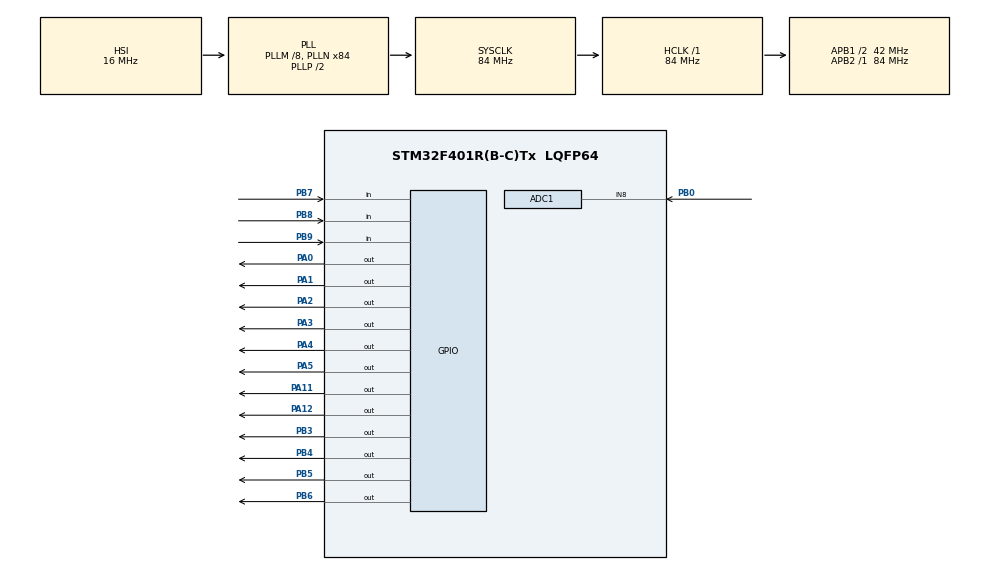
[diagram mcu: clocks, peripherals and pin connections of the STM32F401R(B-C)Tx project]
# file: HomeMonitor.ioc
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ADC1.Channel-15\#ChannelRegularConversion=ADC_CHANNEL_8
ADC1.ClockPrescaler=ADC_CLOCK_SYNC_PCLK_DIV8
ADC1.NbrOfConversionFlag=1
ADC1.Rank-15\#ChannelRegularConversion=1
ADC1.SamplingTime-15\#ChannelRegularConversion=ADC_SAMPLETIME_3CYCLES
ADC1.master=1
Mcu.Family=STM32F4
Mcu.Name=STM32F401R(B-C)Tx
Mcu.Package=LQFP64
NVIC.ADC_IRQn=true\:0\:0\:false\:false\:true\:true\:true\:true
NVIC.PriorityGroup=NVIC_PRIORITYGROUP_4
PA0-WKUP.Signal=GPIO_Output
PA1.Signal=GPIO_Output
PA11.Signal=GPIO_Output
PA12.Signal=GPIO_Output
PA2.Signal=GPIO_Output
PA3.Signal=GPIO_Output
PA4.Signal=GPIO_Output
PA5.Signal=GPIO_Output
PB0.Signal=ADCx_IN8
PB3.Signal=GPIO_Output
PB4.Signal=GPIO_Output
PB5.Signal=GPIO_Output
PB6.Signal=GPIO_Output
PB7.GPIO_PuPd=GPIO_PULLDOWN
PB7.Signal=GPIO_Input
PB8.GPIO_PuPd=GPIO_PULLDOWN
PB8.Signal=GPIO_Input
PB9.GPIO_PuPd=GPIO_PULLDOWN
PB9.Signal=GPIO_Input
ProjectManager.HeapSize=0x200
ProjectManager.StackSize=0x400
ProjectManager.TargetToolchain=STM32CubeIDE
RCC.48MHZClocksFreq_Value=42000000
RCC.AHBFreq_Value=84000000
RCC.APB1CLKDivider=RCC_HCLK_DIV2
RCC.APB1Freq_Value=42000000
RCC.APB1TimFreq_Value=84000000
RCC.APB2Freq_Value=84000000
RCC.APB2TimFreq_Value=84000000
RCC.CortexFreq_Value=84000000
RCC.HCLKFreq_Value=84000000
RCC.HSE_VALUE=25000000
RCC.HSI_VALUE=16000000
RCC.LSE_VALUE=32768
RCC.PLLM=8
RCC.PLLN=84
RCC.SYSCLKFreq_VALUE=84000000
RCC.SYSCLKSource=RCC_SYSCLKSOURCE_PLLCLK
RCC.VCOOutputFreq_Value=168000000
SH.ADCx_IN8.0=ADC1_IN8,IN8
TIM10.Prescaler=83
VP_TIM10_VS_ClockSourceINT.Mode=Enable_Timer
board=custom

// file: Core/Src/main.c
/* USER CODE BEGIN Header */
/*****************************************************************************************************************************
**********************************    Author  : Ehab Magdy Abdullah                      *************************************
**********************************    Linkedin: https://www.linkedin.com/in/ehabmagdyy/  *************************************
**********************************    Youtube : https://www.youtube.com/@EhabMagdyy      *************************************
******************************************************************************************************************************/
/* USER CODE END Header */
#include "main.h"

/* USER CODE BEGIN Includes */
#include "lcd.h"
#include "DHT22.h"
#include "keypad.h"
/* USER CODE END Includes */

ADC_HandleTypeDef hadc1;

TIM_HandleTypeDef htim10;

/* USER CODE BEGIN PV */
uint8_t my_password[4] = "2380";		/* System Password */
uint8_t entered_password[4];			/* Entered Password */
uint8_t counter = 0;					/* Count Number of Entered Characters (MAX = 4) */
uint8_t num_of_trys = 0;				/* Count number of wrong trys (MAX = 2) */
uint8_t keypad_value;					/* Store Entered Keypad letter */

uint32_t ADC_Value, Flame_Percentage;	/* Store ADC Value and map it into Flame Percentage */
float Temperature, Humidity;			/* Store Temperature & Humidity Readings */
/* USER CODE END PV */

void SystemClock_Config(void);
static void MX_GPIO_Init(void);
static void MX_ADC1_Init(void);
static void MX_TIM10_Init(void);
/* USER CODE BEGIN PFP */
void System_Login();
void Print_Data();
/* USER CODE END PFP */

/* USER CODE BEGIN 0 */
void HAL_ADC_ConvCpltCallback(ADC_HandleTypeDef *hadc)
{
  /* Prevent unused argument(s) compilation warning */
  UNUSED(hadc);

  ADC_Value = HAL_ADC_GetValue(&hadc1);							/* Get ADC Value */
  Flame_Percentage = 100 - (ADC_Value * 100.0/4095);			/* Map ADV value from 0 to 100 */
}
/* USER CODE END 0 */

int main(void)
{

  /* MCU Configuration--------------------------------------------------------*/

  /* Reset of all peripherals, Initializes the Flash interface and the Systick. */
  HAL_Init();

  /* Configure the system clock */
  SystemClock_Config();

  /* Initialize all configured peripherals */
  MX_GPIO_Init();
  MX_ADC1_Init();
  MX_TIM10_Init();
  /* USER CODE BEGIN 2 */
  HAL_TIM_Base_Start(&htim10);

  lCD_Init(&lcd);
  System_Login();
  /* USER CODE END 2 */

  /* Infinite loop */
  /* USER CODE BEGIN WHILE */
  while (1)
  {
	  DHT22_Get_Reading(&Temperature, &Humidity);
	  HAL_ADC_Start_IT(&hadc1);
	  Print_Data();
	  HAL_Delay(2500);
    /* USER CODE END WHILE */

  }
}

void SystemClock_Config(void)
{
  RCC_OscInitTypeDef RCC_OscInitStruct = {0};
  RCC_ClkInitTypeDef RCC_ClkInitStruct = {0};

  /** Configure the main internal regulator output voltage
  */
  __HAL_RCC_PWR_CLK_ENABLE();
  __HAL_PWR_VOLTAGESCALING_CONFIG(PWR_REGULATOR_VOLTAGE_SCALE2);

  /** Initializes the RCC Oscillators according to the specified parameters
  * in the RCC_OscInitTypeDef structure.
  */
  RCC_OscInitStruct.OscillatorType = RCC_OSCILLATORTYPE_HSI;
  RCC_OscInitStruct.HSIState = RCC_HSI_ON;
  RCC_OscInitStruct.HSICalibrationValue = RCC_HSICALIBRATION_DEFAULT;
  RCC_OscInitStruct.PLL.PLLState = RCC_PLL_ON;
  RCC_OscInitStruct.PLL.PLLSource = RCC_PLLSOURCE_HSI;
  RCC_OscInitStruct.PLL.PLLM = 8;
  RCC_OscInitStruct.PLL.PLLN = 84;
  RCC_OscInitStruct.PLL.PLLP = RCC_PLLP_DIV2;
  RCC_OscInitStruct.PLL.PLLQ = 4;
  if (HAL_RCC_OscConfig(&RCC_OscInitStruct) != HAL_OK)
  {
    Error_Handler();
  }

  /** Initializes the CPU, AHB and APB buses clocks
  */
  RCC_ClkInitStruct.ClockType = RCC_CLOCKTYPE_HCLK|RCC_CLOCKTYPE_SYSCLK
                              |RCC_CLOCKTYPE_PCLK1|RCC_CLOCKTYPE_PCLK2;
  RCC_ClkInitStruct.SYSCLKSource = RCC_SYSCLKSOURCE_PLLCLK;
  RCC_ClkInitStruct.AHBCLKDivider = RCC_SYSCLK_DIV1;
  RCC_ClkInitStruct.APB1CLKDivider = RCC_HCLK_DIV2;
  RCC_ClkInitStruct.APB2CLKDivider = RCC_HCLK_DIV1;

  if (HAL_RCC_ClockConfig(&RCC_ClkInitStruct, FLASH_LATENCY_2) != HAL_OK)
  {
    Error_Handler();
  }
}

static void MX_ADC1_Init(void)
{

  ADC_ChannelConfTypeDef sConfig = {0};

  /** Configure the global features of the ADC (Clock, Resolution, Data Alignment and number of conversion)
  */
  hadc1.Instance = ADC1;
  hadc1.Init.ClockPrescaler = ADC_CLOCK_SYNC_PCLK_DIV8;
  hadc1.Init.Resolution = ADC_RESOLUTION_12B;
  hadc1.Init.ScanConvMode = DISABLE;
  hadc1.Init.ContinuousConvMode = DISABLE;
  hadc1.Init.DiscontinuousConvMode = DISABLE;
  hadc1.Init.ExternalTrigConvEdge = ADC_EXTERNALTRIGCONVEDGE_NONE;
  hadc1.Init.ExternalTrigConv = ADC_SOFTWARE_START;
  hadc1.Init.DataAlign = ADC_DATAALIGN_RIGHT;
  hadc1.Init.NbrOfConversion = 1;
  hadc1.Init.DMAContinuousRequests = DISABLE;
  hadc1.Init.EOCSelection = ADC_EOC_SINGLE_CONV;
  if (HAL_ADC_Init(&hadc1) != HAL_OK)
  {
    Error_Handler();
  }

  /** Configure for the selected ADC regular channel its corresponding rank in the sequencer and its sample time.
  */
  sConfig.Channel = ADC_CHANNEL_8;
  sConfig.Rank = 1;
  sConfig.SamplingTime = ADC_SAMPLETIME_3CYCLES;
  if (HAL_ADC_ConfigChannel(&hadc1, &sConfig) != HAL_OK)
  {
    Error_Handler();
  }

}

static void MX_TIM10_Init(void)
{

  htim10.Instance = TIM10;
  htim10.Init.Prescaler = 83;
  htim10.Init.CounterMode = TIM_COUNTERMODE_UP;
  htim10.Init.Period = 65535;
  htim10.Init.ClockDivision = TIM_CLOCKDIVISION_DIV1;
  htim10.Init.AutoReloadPreload = TIM_AUTORELOAD_PRELOAD_DISABLE;
  if (HAL_TIM_Base_Init(&htim10) != HAL_OK)
  {
    Error_Handler();
  }

}

static void MX_GPIO_Init(void)
{
  GPIO_InitTypeDef GPIO_InitStruct = {0};

  /* GPIO Ports Clock Enable */
  __HAL_RCC_GPIOA_CLK_ENABLE();
  __HAL_RCC_GPIOB_CLK_ENABLE();

  /*Configure GPIO pin Output Level */
  HAL_GPIO_WritePin(GPIOA, GPIO_PIN_0|GPIO_PIN_1|GPIO_PIN_2|GPIO_PIN_3
                          |GPIO_PIN_4|GPIO_PIN_5|GPIO_PIN_11|GPIO_PIN_12, GPIO_PIN_RESET);

  /*Configure GPIO pin Output Level */
  HAL_GPIO_WritePin(GPIOB, GPIO_PIN_3|GPIO_PIN_4|GPIO_PIN_5|GPIO_PIN_6, GPIO_PIN_RESET);

  /*Configure GPIO pins : PA0 PA1 PA2 PA3
                           PA4 PA5 PA11 PA12 */
  GPIO_InitStruct.Pin = GPIO_PIN_0|GPIO_PIN_1|GPIO_PIN_2|GPIO_PIN_3
                          |GPIO_PIN_4|GPIO_PIN_5|GPIO_PIN_11|GPIO_PIN_12;
  GPIO_InitStruct.Mode = GPIO_MODE_OUTPUT_PP;
  GPIO_InitStruct.Pull = GPIO_NOPULL;
  GPIO_InitStruct.Speed = GPIO_SPEED_FREQ_LOW;
  HAL_GPIO_Init(GPIOA, &GPIO_InitStruct);

  /*Configure GPIO pins : PB3 PB4 PB5 PB6 */
  GPIO_InitStruct.Pin = GPIO_PIN_3|GPIO_PIN_4|GPIO_PIN_5|GPIO_PIN_6;
  GPIO_InitStruct.Mode = GPIO_MODE_OUTPUT_PP;
  GPIO_InitStruct.Pull = GPIO_NOPULL;
  GPIO_InitStruct.Speed = GPIO_SPEED_FREQ_LOW;
  HAL_GPIO_Init(GPIOB, &GPIO_InitStruct);

  /*Configure GPIO pins : PB7 PB8 PB9 */
  GPIO_InitStruct.Pin = GPIO_PIN_7|GPIO_PIN_8|GPIO_PIN_9;
  GPIO_InitStruct.Mode = GPIO_MODE_INPUT;
  GPIO_InitStruct.Pull = GPIO_PULLDOWN;
  HAL_GPIO_Init(GPIOB, &GPIO_InitStruct);

}

/* USER CODE BEGIN 4 */
/*********************   Login to the system     ********************/
void System_Login()
{
	/* While Number of Wrong less than 2 */
	while(num_of_trys < 2)
	{
		LCD_Send_String_Pos(&lcd, 1, 1, "Enter Password: ");
		/* Reading the 4 Characters password */
		while(counter < 4)
		{
			while(!keypad_value)
				keypad_value = keypad_Read_Value(&keypad);

			LCD_Send_Char_Pos(&lcd, 2, 13+counter, keypad_value);
			HAL_Delay(400);
			LCD_Send_Char_Pos(&lcd, 2, 13+counter, '*');

			entered_password[counter++] = keypad_value;
			keypad_value = 0;
		}
		/* Check if Entered password is Correct */
		if(entered_password[0] == my_password[0] && entered_password[1] == my_password[1] &&
		   entered_password[2] == my_password[2] && entered_password[3] == my_password[3])
		{
			// Correct password
			LCD_Send_String_Pos(&lcd, 1, 1, "Correct Password.");
			LCD_Send_String_Pos(&lcd, 2, 13, "    ");
			HAL_Delay(1500);
			LCD_Send_String_Pos(&lcd, 1, 1, "T:  . C,H:   . %");
			LCD_Send_String_Pos(&lcd, 2, 1, "Flame:   %");
			break;   // break out of the loop
		}
		else
		{
			// Wrong Password
			num_of_trys++;
			LCD_Send_String_Pos(&lcd, 1, 1, "Wrong Password! ");
			LCD_Send_String_Pos(&lcd, 2, 13, "    ");
			HAL_Delay(1500);

			if(num_of_trys < 2)
			{
				// One Try left
				LCD_Send_String_Pos(&lcd, 1, 1, "Try again       ");
				HAL_Delay(1500);
			}
			else
			{
				// No Try left
				LCD_Send_String_Pos(&lcd, 1, 1, "Ran out of trys ");
				for(uint8_t i = 0 ; i < 16 ; i++)
				{
					HAL_GPIO_TogglePin(GPIOA, GPIO_PIN_12);
				    HAL_Delay(200);
				}

				LCD_Send_String_Pos(&lcd, 1, 1, "Try after 10 Sec");
				HAL_Delay(10000);
				num_of_trys = 0;    // Reset Number of Trys
			}
		}
		counter = 0;				// Reset Character Counter for a new Reading
	}
}

/*******************   Displaying Readings on LCD     *******************/
void Print_Data()
{
	if(Temperature < 0){
		LCD_Send_Char_Pos(&lcd, 1, 2, '-');    // Negative Temperature
	}
	else{
		LCD_Send_Char_Pos(&lcd, 1, 2, ':');	   // Positive Temperature
	}
	// Display Temperature Reading
	LCD_Send_Char_Pos(&lcd, 1, 3, (((uint32_t)Temperature / 10) % 10) + '0');
	LCD_Send_Char_Pos(&lcd, 1, 4, ((uint32_t)Temperature % 10) + '0');
	LCD_Send_Char_Pos(&lcd, 1, 6, ((uint32_t)(Temperature * 10) % 10) + '0');
	// Display Humidity Reading
	LCD_Send_Char_Pos(&lcd, 1, 11, (((uint32_t)Humidity / 100) % 10) + '0');
	LCD_Send_Char_Pos(&lcd, 1, 12, (((uint32_t)Humidity / 10) % 10) + '0');
	LCD_Send_Char_Pos(&lcd, 1, 13, ((uint32_t)Humidity % 10) + '0');
	LCD_Send_Char_Pos(&lcd, 1, 15, ((uint32_t)(Humidity * 10) % 10) + '0');
	// Display Flame Percentage
	LCD_Send_Char_Pos(&lcd, 2, 7, ((Flame_Percentage / 100) % 10) + '0');
	LCD_Send_Char_Pos(&lcd, 2, 8, ((Flame_Percentage / 10) % 10) + '0');
	LCD_Send_Char_Pos(&lcd, 2, 9, (Flame_Percentage % 10) + '0');
}
/* USER CODE END 4 */

void Error_Handler(void)
{
  __disable_irq();
  while (1)
  {
  }
}
